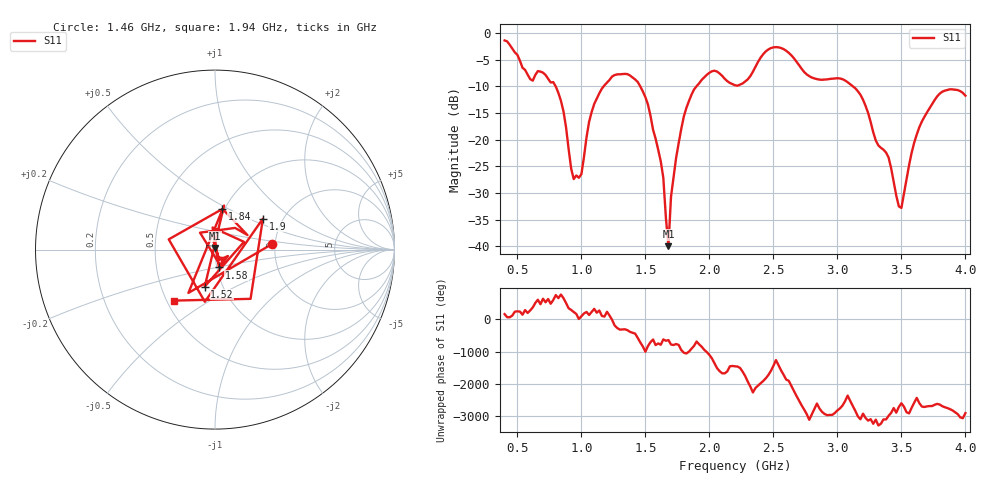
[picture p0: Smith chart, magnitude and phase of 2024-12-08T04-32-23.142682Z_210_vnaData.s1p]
!Created with skrf (http://scikit-rf.org).
# Hz S RI R 50.0
!freq ReS11 ImS11
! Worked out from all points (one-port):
!   181 points, 400 MHz to 4 GHz, reference 50 ohm
!   lowest |S11| = -40.0 dB at 1.68 GHz (marker M1), VSWR 1.02, Z = 50.2 + j0.984 ohm
!   |S11| at or under -10 dB: 799.1 MHz to 1.173 GHz (374.4 MHz wide, 38 % of centre); 1.46 GHz to 1.899 GHz (438.6 MHz wide, 26.1 % of centre); 3.122 GHz to end of sweep
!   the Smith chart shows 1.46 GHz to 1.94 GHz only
!   S11 on the Smith chart (normalised r, x): 1.46 GHz: 1.91, +0.12; 1.52 GHz: 0.82, -0.35; 1.58 GHz: 1.02, -0.21; 1.84 GHz: 0.98, +0.47; 1.9 GHz: 1.58, +0.61; 1.94 GHz: 0.55, -0.36
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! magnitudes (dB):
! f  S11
! 400 MHz  -1.4
! 600 MHz  -8.6
! 780 MHz  -9.2
! 860 MHz  -14.7
! 920 MHz  -25.4
! 980 MHz  -27.1
! 1.1 GHz  -13.3
! 1.3 GHz  -7.7
! 1.46 GHz  -10.0
! 1.52 GHz  -13.4
! 1.58 GHz  -19.8
! 1.64 GHz  -27.2
! 1.68 GHz  -40.0
! 1.7 GHz  -30.7
! 1.76 GHz  -20.6
! 1.84 GHz  -12.7
! 1.9 GHz  -10.0
! 1.94 GHz  -8.8
! 2.2 GHz  -9.8
! 2.48 GHz  -2.8
! 2.66 GHz  -4.7
! 3.1 GHz  -9.6
! 3.4 GHz  -23.3
! 3.48 GHz  -32.5
! 3.56 GHz  -24.8
! 3.64 GHz  -17.7
! 3.78 GHz  -11.9
! 4 GHz  -11.7
